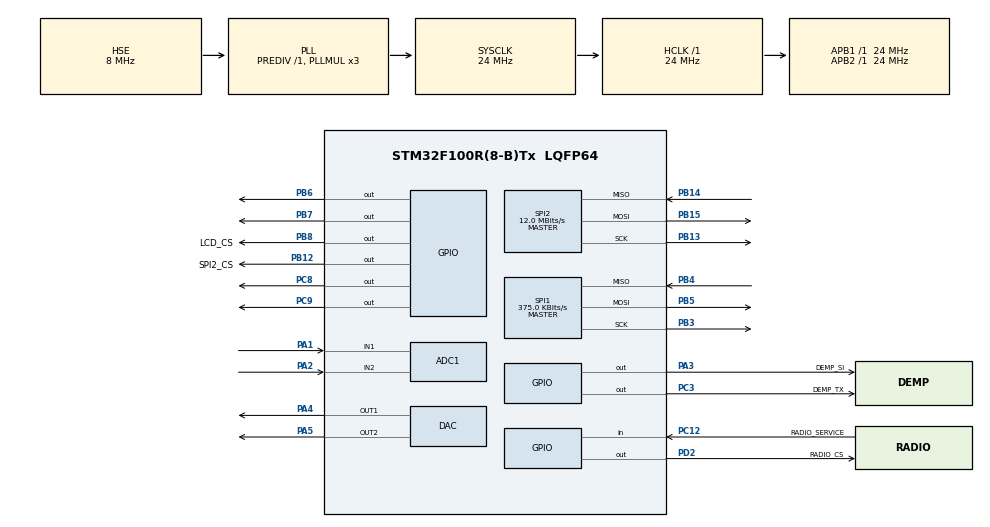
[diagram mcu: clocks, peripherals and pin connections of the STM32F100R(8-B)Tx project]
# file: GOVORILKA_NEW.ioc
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ADC1.Channel-9\#ChannelRegularConversion=ADC_CHANNEL_2
ADC1.ContinuousConvMode=DISABLE
ADC1.DataAlign=ADC_DATAALIGN_RIGHT
ADC1.DiscontinuousConvMode=DISABLE
ADC1.EnableAnalogWatchDog=false
ADC1.EnableRegularConversion=ENABLE
ADC1.ExternalTrigConv=ADC_SOFTWARE_START
ADC1.InjNumberOfConversion=0
ADC1.NbrOfConversion=1
ADC1.NbrOfConversionFlag=1
ADC1.Rank-9\#ChannelRegularConversion=1
ADC1.SamplingTime-9\#ChannelRegularConversion=ADC_SAMPLETIME_1CYCLE_5
ADC1.ScanConvMode=ADC_SCAN_DISABLE
ADC1.master=1
DAC.DAC_OutputBuffer=DAC_OUTPUTBUFFER_DISABLE
DAC.DAC_OutputBuffer2=DAC_OUTPUTBUFFER_DISABLE
DAC.DAC_Trigger=DAC_TRIGGER_T6_TRGO
DAC.DAC_Trigger2=DAC_TRIGGER_T6_TRGO
Dma.DAC_CH1.0.Direction=DMA_MEMORY_TO_PERIPH
Dma.DAC_CH1.0.Instance=DMA1_Channel3
Dma.DAC_CH1.0.MemDataAlignment=DMA_MDATAALIGN_BYTE
Dma.DAC_CH1.0.MemInc=DMA_MINC_ENABLE
Dma.DAC_CH1.0.Mode=DMA_CIRCULAR
Dma.DAC_CH1.0.PeriphDataAlignment=DMA_PDATAALIGN_BYTE
Dma.DAC_CH1.0.PeriphInc=DMA_PINC_DISABLE
Dma.DAC_CH1.0.Priority=DMA_PRIORITY_HIGH
Dma.Request0=DAC_CH1
Mcu.Family=STM32F1
Mcu.Name=STM32F100R(8-B)Tx
Mcu.Package=LQFP64
NVIC.DMA1_Channel3_IRQn=true\:0\:0\:false\:false\:true
NVIC.PriorityGroup=NVIC_PRIORITYGROUP_4
NVIC.TIM6_DAC_IRQn=true\:0\:0\:false\:false\:true
PA0-WKUP.Signal=SYS_WKUP
PA1.Signal=ADCx_IN1
PA13.Mode=Serial_Wire
PA13.Signal=SYS_JTMS-SWDIO
PA14.Mode=Serial_Wire
PA14.Signal=SYS_JTCK-SWCLK
PA2.Signal=ADCx_IN2
PA3.GPIO_Label=DEMP_SI
PA3.GPIO_Speed=GPIO_SPEED_FREQ_HIGH
PA3.Signal=GPIO_Output
PA4.Signal=COMP_DAC1_group
PA5.Signal=COMP_DAC2_group
PB12.GPIO_Label=SPI2_CS
PB12.Signal=GPIO_Output
PB13.Mode=Full_Duplex_Master
PB13.Signal=SPI2_SCK
PB14.Mode=Full_Duplex_Master
PB14.Signal=SPI2_MISO
PB15.Mode=Full_Duplex_Master
PB15.Signal=SPI2_MOSI
PB3.Mode=Full_Duplex_Master
PB3.Signal=SPI1_SCK
PB4.Mode=Full_Duplex_Master
PB4.Signal=SPI1_MISO
PB5.Mode=Full_Duplex_Master
PB5.Signal=SPI1_MOSI
PB6.GPIO_ModeDefaultOutputPP=GPIO_MODE_OUTPUT_PP
PB6.GPIO_Speed=GPIO_SPEED_FREQ_LOW
PB6.PinState=GPIO_PIN_RESET
PB6.Signal=GPIO_Output
PB7.GPIO_ModeDefaultOutputPP=GPIO_MODE_OUTPUT_PP
PB7.GPIO_Speed=GPIO_SPEED_FREQ_LOW
PB7.PinState=GPIO_PIN_RESET
PB7.Signal=GPIO_Output
PB8.GPIO_Label=LCD_CS
PB8.Signal=GPIO_Output
PC12.GPIO_Label=RADIO_SERVICE
PC12.Signal=GPIO_Input
PC14-OSC32_IN.Signal=RCC_OSC32_IN
PC15-OSC32_OUT.Signal=RCC_OSC32_OUT
PC3.GPIO_Label=DEMP_TX
PC3.Signal=GPIO_Output
PC8.GPIO_ModeDefaultOutputPP=GPIO_MODE_OUTPUT_PP
PC8.GPIO_Speed=GPIO_SPEED_FREQ_LOW
PC8.PinState=GPIO_PIN_RESET
PC8.Signal=GPIO_Output
PC9.GPIO_ModeDefaultOutputPP=GPIO_MODE_OUTPUT_PP
PC9.GPIO_Speed=GPIO_SPEED_FREQ_LOW
PC9.PinState=GPIO_PIN_RESET
PC9.Signal=GPIO_Output
PD0-OSC_IN.Mode=HSE-External-Oscillator
PD0-OSC_IN.Signal=RCC_OSC_IN
PD1-OSC_OUT.Mode=HSE-External-Oscillator
PD1-OSC_OUT.Signal=RCC_OSC_OUT
PD2.GPIO_Label=RADIO_CS
PD2.Signal=GPIO_Output
ProjectManager.HeapSize=0x200
ProjectManager.StackSize=0x400
ProjectManager.TargetToolchain=EWARM
RCC.AHBFreq_Value=24000000
RCC.APB1Freq_Value=24000000
RCC.APB1TimFreq_Value=24000000
RCC.APB2Freq_Value=24000000
RCC.APB2TimFreq_Value=24000000
RCC.HCLKFreq_Value=24000000
RCC.PLLMUL=RCC_PLL_MUL3
RCC.PLLSource=RCC_PLLSOURCE_HSE
RCC.SYSCLKFreq_VALUE=24000000
RCC.SYSCLKSource=RCC_SYSCLKSOURCE_PLLCLK
SH.ADCx_IN1.0=ADC1_IN1,IN1
SH.ADCx_IN2.0=ADC1_IN2,IN2
SH.COMP_DAC1_group.0=DAC_OUT1,DAC_OUT1
SH.COMP_DAC2_group.0=DAC_OUT2,DAC_OUT2
SPI1.BaudRatePrescaler=SPI_BAUDRATEPRESCALER_64
SPI1.CalculateBaudRate=375.0 KBits/s
SPI1.Direction=SPI_DIRECTION_2LINES
SPI1.Mode=SPI_MODE_MASTER
SPI1.VirtualType=VM_MASTER
SPI2.BaudRatePrescaler=SPI_BAUDRATEPRESCALER_2
SPI2.CalculateBaudRate=12.0 MBits/s
SPI2.Direction=SPI_DIRECTION_2LINES
SPI2.Mode=SPI_MODE_MASTER
SPI2.VirtualType=VM_MASTER
TIM6.AutoReloadPreload=TIM_AUTORELOAD_PRELOAD_ENABLE
TIM6.Period=45
TIM6.Prescaler=23
TIM6.TIM_MasterOutputTrigger=TIM_TRGO_UPDATE
VP_TIM6_VS_ClockSourceINT.Mode=Enable_Timer
VP_TIM7_VS_ClockSourceINT.Mode=Enable_Timer
VP_TIM7_VS_OPM.Mode=OPM_bit
board=STM32VLDISCOVERY

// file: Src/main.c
/**
  ******************************************************************************
  * File Name          : main.c
  * Description        : Main program body
  ******************************************************************************
  ** This notice applies to any and all portions of this file
  * that are not between comment pairs USER CODE BEGIN and
  * USER CODE END. Other portions of this file, whether
  * inserted by the user or by software development tools
  * are owned by their respective copyright owners.
  *
  * COPYRIGHT(c) 2017 STMicroelectronics
  *
  * Redistribution and use in source and binary forms, with or without modification,
  * are permitted provided that the following conditions are met:
  *   1. Redistributions of source code must retain the above copyright notice,
  *      this list of conditions and the following disclaimer.
  *   2. Redistributions in binary form must reproduce the above copyright notice,
  *      this list of conditions and the following disclaimer in the documentation
  *      and/or other materials provided with the distribution.
  *   3. Neither the name of STMicroelectronics nor the names of its contributors
  *      may be used to endorse or promote products derived from this software
  *      without specific prior written permission.
  *
  * THIS SOFTWARE IS PROVIDED BY THE COPYRIGHT HOLDERS AND CONTRIBUTORS "AS IS"
  * AND ANY EXPRESS OR IMPLIED WARRANTIES, INCLUDING, BUT NOT LIMITED TO, THE
  * IMPLIED WARRANTIES OF MERCHANTABILITY AND FITNESS FOR A PARTICULAR PURPOSE ARE
  * DISCLAIMED. IN NO EVENT SHALL THE COPYRIGHT HOLDER OR CONTRIBUTORS BE LIABLE
  * FOR ANY DIRECT, INDIRECT, INCIDENTAL, SPECIAL, EXEMPLARY, OR CONSEQUENTIAL
  * DAMAGES (INCLUDING, BUT NOT LIMITED TO, PROCUREMENT OF SUBSTITUTE GOODS OR
  * SERVICES; LOSS OF USE, DATA, OR PROFITS; OR BUSINESS INTERRUPTION) HOWEVER
  * CAUSED AND ON ANY THEORY OF LIABILITY, WHETHER IN CONTRACT, STRICT LIABILITY,
  * OR TORT (INCLUDING NEGLIGENCE OR OTHERWISE) ARISING IN ANY WAY OUT OF THE USE
  * OF THIS SOFTWARE, EVEN IF ADVISED OF THE POSSIBILITY OF SUCH DAMAGE.
  *
  ******************************************************************************
  */
#include "main.h"
#include "stm32f1xx_hal.h"

/* USER CODE BEGIN Includes */
#include "App.h"
#include "func.h"
#include "ff.h"
#include "integer.h"
#include "diskio.h"
/* USER CODE END Includes */

ADC_HandleTypeDef hadc1;

DAC_HandleTypeDef hdac;
DMA_HandleTypeDef hdma_dac_ch1;

SPI_HandleTypeDef hspi1;
SPI_HandleTypeDef hspi2;

TIM_HandleTypeDef htim6;
TIM_HandleTypeDef htim7;

/* USER CODE BEGIN PV */
/* Private variables ---------------------------------------------------------*/

/* USER CODE END PV */

void SystemClock_Config(void);
static void MX_GPIO_Init(void);
static void MX_DMA_Init(void);
static void MX_DAC_Init(void);
static void MX_TIM6_Init(void);
static void MX_SPI2_Init(void);
static void MX_SPI1_Init(void);
static void MX_ADC1_Init(void);
static void MX_TIM7_Init(void);

/* USER CODE BEGIN PFP */
/* Private function prototypes -----------------------------------------------*/

/* USER CODE END PFP */

 int main(void)
{

  /* MCU Configuration----------------------------------------------------------*/

  /* Reset of all peripherals, Initializes the Flash interface and the Systick. */
  HAL_Init();

  /* Configure the system clock */
  SystemClock_Config();

  /* Initialize all configured peripherals */
  MX_GPIO_Init();
  MX_DMA_Init();
  MX_DAC_Init();
  MX_TIM6_Init();
  MX_SPI2_Init();
  MX_SPI1_Init();
  MX_ADC1_Init();
  MX_TIM7_Init();

  /* Infinite loop */
  while (1)
  {

  /* USER CODE BEGIN 3 */
   //Play_1_file();
   lcd7735_ini();// инициализация дисплея
   lcd7735_fillrect(0, 0, 127, 159, 0x0000); // заполним весь экран черным  цветом

   int a = 0;

   HAL_Delay(10);
 // lcd7735_putstr(95,0,"Инициализация",0x0F00,0x0000);
   result = f_mount(&FATFS_Obj, "0", 1);
   if (result != FR_OK)
   {
     //lcd7735_putstr(80,0,"Ошибка",0x0F00,0x0000);
     while(1) {}

   }

    while(1) { Play_1_file();}
    // инициализация радио модуля
   if(CC1101_init()) { while(1)
   {
     SetXY(0,80);
     //lcd7735_putstr(80,0,"Ошибка радиомодуля",0x0F00,0x0000);
   }

   }

   //lcd7735_putstr(80,0,"Успех",0x0F00,0x0000);

   a = ADC_GET();

   // while(1)
   // {

   //   Play_1_file();
   //}
  float b;
  float b2;
  while(1)
  {
    if(!FLAG_PLAY)
    {
      a = dempGetData();
      b = (float)( 3.3 * a) / 4095;
     // b2 = (float) ( 3.3 / 4095) * Max;
      SetXY(0,110);
      printf("Дэмп: %1.3f В  \n",b);

      SendResultViaRadio(b);

     // b = tempGetData();
     // b = (float)( 3.3 / 4095) * b;
     // SetXY(0,90);
     // printf("Темп.: %f С  \n",b);

    //  SetXY(0,70);
    //  printf("Время: %d млс  \n", HAL_GetTick());
     // SetXY(0,95);
     // printf("Дэмп макс.: %1.3f В  \n",b2 * 2);

      /*
      SetXY(0,80);
      b = (float)( 3.3 / 4095) * Res_1;
      printf("30 мкс.: %1.3f В  \n",b * 2);

      SetXY(0,65);
      b = (float)( 3.3 / 4095) * Res_2;
      printf("100 мкс.: %1.3f В  \n",b * 2);

      SetXY(0,50);
      b = (float)( 3.3 / 4095) * Res_3;
      printf("170 мкс.: %1.3f В  \n",b * 2);

      SetXY(0,35);
      b = (float)( 3.3 / 4095) * Res_4;
      printf("240 мкс.: %1.3f В  \n",b * 2);

      SetXY(0,20);
      b = (float)( 3.3 / 4095) * Res_5;
      printf("310 мкс.: %1.3f В  \n",b * 2);

      SetXY(0,5);
      b = (float)( 3.3 / 4095) * Res_6;
      printf("380 мкс.: %1.3f В  \n",b * 2);
      */
      //SetXY(0,52);
     // b = (float)( 3.3 / 4095) * Res_7;
      //printf("130 мкс.: %1.3f В  \n",b * 2);

      //SetXY(0,44);
     // b = (float)( 3.3 / 4095) * Res_8;
     // printf("155 мкс.: %1.3f В  \n",b * 2);

      HAL_Delay(500);
    }

    //if( b > 1)
    //{ FLAG_PLAY = 1;}

    if(FLAG_PLAY)
    {  Play_1_file(); }
    else { HAL_Delay(100); }

  }
  }
  /* USER CODE END 3 */

}

/** System Clock Configuration
*/
void SystemClock_Config(void)
{

  RCC_OscInitTypeDef RCC_OscInitStruct;
  RCC_ClkInitTypeDef RCC_ClkInitStruct;
  RCC_PeriphCLKInitTypeDef PeriphClkInit;

    /**Initializes the CPU, AHB and APB busses clocks
    */
  RCC_OscInitStruct.OscillatorType = RCC_OSCILLATORTYPE_HSE;
  RCC_OscInitStruct.HSEState = RCC_HSE_ON;
  RCC_OscInitStruct.HSEPredivValue = RCC_HSE_PREDIV_DIV1;
  RCC_OscInitStruct.PLL.PLLState = RCC_PLL_ON;
  RCC_OscInitStruct.PLL.PLLSource = RCC_PLLSOURCE_HSE;
  RCC_OscInitStruct.PLL.PLLMUL = RCC_PLL_MUL3;
  if (HAL_RCC_OscConfig(&RCC_OscInitStruct) != HAL_OK)
  {
    _Error_Handler(__FILE__, __LINE__);
  }

    /**Initializes the CPU, AHB and APB busses clocks
    */
  RCC_ClkInitStruct.ClockType = RCC_CLOCKTYPE_HCLK|RCC_CLOCKTYPE_SYSCLK
                              |RCC_CLOCKTYPE_PCLK1|RCC_CLOCKTYPE_PCLK2;
  RCC_ClkInitStruct.SYSCLKSource = RCC_SYSCLKSOURCE_PLLCLK;
  RCC_ClkInitStruct.AHBCLKDivider = RCC_SYSCLK_DIV1;
  RCC_ClkInitStruct.APB1CLKDivider = RCC_HCLK_DIV1;
  RCC_ClkInitStruct.APB2CLKDivider = RCC_HCLK_DIV1;

  if (HAL_RCC_ClockConfig(&RCC_ClkInitStruct, FLASH_LATENCY_0) != HAL_OK)
  {
    _Error_Handler(__FILE__, __LINE__);
  }

  PeriphClkInit.PeriphClockSelection = RCC_PERIPHCLK_ADC;
  PeriphClkInit.AdcClockSelection = RCC_ADCPCLK2_DIV2;
  if (HAL_RCCEx_PeriphCLKConfig(&PeriphClkInit) != HAL_OK)
  {
    _Error_Handler(__FILE__, __LINE__);
  }

    /**Configure the Systick interrupt time
    */
  HAL_SYSTICK_Config(HAL_RCC_GetHCLKFreq()/1000);

    /**Configure the Systick
    */
  HAL_SYSTICK_CLKSourceConfig(SYSTICK_CLKSOURCE_HCLK);

  /* SysTick_IRQn interrupt configuration */
  HAL_NVIC_SetPriority(SysTick_IRQn, 0, 0);
}

/* ADC1 init function */
static void MX_ADC1_Init(void)
{

  ADC_ChannelConfTypeDef sConfig;

    /**Common config
    */
  hadc1.Instance = ADC1;
  hadc1.Init.ScanConvMode = ADC_SCAN_DISABLE;
  hadc1.Init.ContinuousConvMode = DISABLE;
  hadc1.Init.DiscontinuousConvMode = DISABLE;
  hadc1.Init.ExternalTrigConv = ADC_SOFTWARE_START;
  hadc1.Init.DataAlign = ADC_DATAALIGN_RIGHT;
  hadc1.Init.NbrOfConversion = 1;
  if (HAL_ADC_Init(&hadc1) != HAL_OK)
  {
    _Error_Handler(__FILE__, __LINE__);
  }

    /**Configure Regular Channel
    */
  sConfig.Channel = ADC_CHANNEL_2;
  sConfig.Rank = 1;
  sConfig.SamplingTime = ADC_SAMPLETIME_1CYCLE_5;
  if (HAL_ADC_ConfigChannel(&hadc1, &sConfig) != HAL_OK)
  {
    _Error_Handler(__FILE__, __LINE__);
  }

}

/* DAC init function */
static void MX_DAC_Init(void)
{

  DAC_ChannelConfTypeDef sConfig;

    /**DAC Initialization
    */
  hdac.Instance = DAC;
  if (HAL_DAC_Init(&hdac) != HAL_OK)
  {
    _Error_Handler(__FILE__, __LINE__);
  }

    /**DAC channel OUT1 config
    */
  sConfig.DAC_Trigger = DAC_TRIGGER_T6_TRGO;
  sConfig.DAC_OutputBuffer = DAC_OUTPUTBUFFER_DISABLE;
  if (HAL_DAC_ConfigChannel(&hdac, &sConfig, DAC_CHANNEL_1) != HAL_OK)
  {
    _Error_Handler(__FILE__, __LINE__);
  }

    /**DAC channel OUT2 config
    */
  if (HAL_DAC_ConfigChannel(&hdac, &sConfig, DAC_CHANNEL_2) != HAL_OK)
  {
    _Error_Handler(__FILE__, __LINE__);
  }

}

/* SPI1 init function */
static void MX_SPI1_Init(void)
{

  hspi1.Instance = SPI1;
  hspi1.Init.Mode = SPI_MODE_MASTER;
  hspi1.Init.Direction = SPI_DIRECTION_2LINES;
  hspi1.Init.DataSize = SPI_DATASIZE_8BIT;
  hspi1.Init.CLKPolarity = SPI_POLARITY_LOW;
  hspi1.Init.CLKPhase = SPI_PHASE_1EDGE;
  hspi1.Init.NSS = SPI_NSS_SOFT;
  hspi1.Init.BaudRatePrescaler = SPI_BAUDRATEPRESCALER_64;
  hspi1.Init.FirstBit = SPI_FIRSTBIT_MSB;
  hspi1.Init.TIMode = SPI_TIMODE_DISABLE;
  hspi1.Init.CRCCalculation = SPI_CRCCALCULATION_DISABLE;
  hspi1.Init.CRCPolynomial = 10;
  if (HAL_SPI_Init(&hspi1) != HAL_OK)
  {
    _Error_Handler(__FILE__, __LINE__);
  }

}

/* SPI2 init function */
static void MX_SPI2_Init(void)
{

  hspi2.Instance = SPI2;
  hspi2.Init.Mode = SPI_MODE_MASTER;
  hspi2.Init.Direction = SPI_DIRECTION_2LINES;
  hspi2.Init.DataSize = SPI_DATASIZE_8BIT;
  hspi2.Init.CLKPolarity = SPI_POLARITY_LOW;
  hspi2.Init.CLKPhase = SPI_PHASE_1EDGE;
  hspi2.Init.NSS = SPI_NSS_SOFT;
  hspi2.Init.BaudRatePrescaler = SPI_BAUDRATEPRESCALER_2;
  hspi2.Init.FirstBit = SPI_FIRSTBIT_MSB;
  hspi2.Init.TIMode = SPI_TIMODE_DISABLE;
  hspi2.Init.CRCCalculation = SPI_CRCCALCULATION_DISABLE;
  hspi2.Init.CRCPolynomial = 10;
  if (HAL_SPI_Init(&hspi2) != HAL_OK)
  {
    _Error_Handler(__FILE__, __LINE__);
  }

}

/* TIM6 init function */
static void MX_TIM6_Init(void)
{

  TIM_MasterConfigTypeDef sMasterConfig;

  htim6.Instance = TIM6;
  htim6.Init.Prescaler = 23;
  htim6.Init.CounterMode = TIM_COUNTERMODE_UP;
  htim6.Init.Period = 45;
  htim6.Init.AutoReloadPreload = TIM_AUTORELOAD_PRELOAD_ENABLE;
  if (HAL_TIM_Base_Init(&htim6) != HAL_OK)
  {
    _Error_Handler(__FILE__, __LINE__);
  }

  sMasterConfig.MasterOutputTrigger = TIM_TRGO_UPDATE;
  sMasterConfig.MasterSlaveMode = TIM_MASTERSLAVEMODE_DISABLE;
  if (HAL_TIMEx_MasterConfigSynchronization(&htim6, &sMasterConfig) != HAL_OK)
  {
    _Error_Handler(__FILE__, __LINE__);
  }

}

/* TIM7 init function */
static void MX_TIM7_Init(void)
{

  TIM_MasterConfigTypeDef sMasterConfig;

  htim7.Instance = TIM7;
  htim7.Init.Prescaler = 0;
  htim7.Init.CounterMode = TIM_COUNTERMODE_UP;
  htim7.Init.Period = 0;
  htim7.Init.AutoReloadPreload = TIM_AUTORELOAD_PRELOAD_DISABLE;
  if (HAL_TIM_Base_Init(&htim7) != HAL_OK)
  {
    _Error_Handler(__FILE__, __LINE__);
  }

  if (HAL_TIM_OnePulse_Init(&htim7, TIM_OPMODE_SINGLE) != HAL_OK)
  {
    _Error_Handler(__FILE__, __LINE__);
  }

  sMasterConfig.MasterOutputTrigger = TIM_TRGO_RESET;
  sMasterConfig.MasterSlaveMode = TIM_MASTERSLAVEMODE_DISABLE;
  if (HAL_TIMEx_MasterConfigSynchronization(&htim7, &sMasterConfig) != HAL_OK)
  {
    _Error_Handler(__FILE__, __LINE__);
  }

}

static void MX_DMA_Init(void)
{
  /* DMA controller clock enable */
  __HAL_RCC_DMA1_CLK_ENABLE();

  /* DMA interrupt init */
  /* DMA1_Channel3_IRQn interrupt configuration */
  HAL_NVIC_SetPriority(DMA1_Channel3_IRQn, 0, 0);
  HAL_NVIC_EnableIRQ(DMA1_Channel3_IRQn);

}

/** Configure pins as
        * Analog
        * Input
        * Output
        * EVENT_OUT
        * EXTI
*/
static void MX_GPIO_Init(void)
{

  GPIO_InitTypeDef GPIO_InitStruct;

  /* GPIO Ports Clock Enable */
  __HAL_RCC_GPIOC_CLK_ENABLE();
  __HAL_RCC_GPIOD_CLK_ENABLE();
  __HAL_RCC_GPIOA_CLK_ENABLE();
  __HAL_RCC_GPIOB_CLK_ENABLE();

  /*Configure GPIO pin Output Level */
  HAL_GPIO_WritePin(GPIOC, DEMP_TX_Pin|GPIO_PIN_8|GPIO_PIN_9, GPIO_PIN_RESET);

  /*Configure GPIO pin Output Level */
  HAL_GPIO_WritePin(DEMP_SI_GPIO_Port, DEMP_SI_Pin, GPIO_PIN_RESET);

  /*Configure GPIO pin Output Level */
  HAL_GPIO_WritePin(GPIOB, SPI2_CS_Pin|GPIO_PIN_6|GPIO_PIN_7|LCD_CS_Pin, GPIO_PIN_RESET);

  /*Configure GPIO pin Output Level */
  HAL_GPIO_WritePin(RADIO_CS_GPIO_Port, RADIO_CS_Pin, GPIO_PIN_RESET);

  /*Configure GPIO pins : DEMP_TX_Pin PC8 PC9 */
  GPIO_InitStruct.Pin = DEMP_TX_Pin|GPIO_PIN_8|GPIO_PIN_9;
  GPIO_InitStruct.Mode = GPIO_MODE_OUTPUT_PP;
  GPIO_InitStruct.Speed = GPIO_SPEED_FREQ_LOW;
  HAL_GPIO_Init(GPIOC, &GPIO_InitStruct);

  /*Configure GPIO pin : DEMP_SI_Pin */
  GPIO_InitStruct.Pin = DEMP_SI_Pin;
  GPIO_InitStruct.Mode = GPIO_MODE_OUTPUT_PP;
  GPIO_InitStruct.Speed = GPIO_SPEED_FREQ_HIGH;
  HAL_GPIO_Init(DEMP_SI_GPIO_Port, &GPIO_InitStruct);

  /*Configure GPIO pins : SPI2_CS_Pin PB6 PB7 LCD_CS_Pin */
  GPIO_InitStruct.Pin = SPI2_CS_Pin|GPIO_PIN_6|GPIO_PIN_7|LCD_CS_Pin;
  GPIO_InitStruct.Mode = GPIO_MODE_OUTPUT_PP;
  GPIO_InitStruct.Speed = GPIO_SPEED_FREQ_LOW;
  HAL_GPIO_Init(GPIOB, &GPIO_InitStruct);

  /*Configure GPIO pin : RADIO_SERVICE_Pin */
  GPIO_InitStruct.Pin = RADIO_SERVICE_Pin;
  GPIO_InitStruct.Mode = GPIO_MODE_INPUT;
  GPIO_InitStruct.Pull = GPIO_NOPULL;
  HAL_GPIO_Init(RADIO_SERVICE_GPIO_Port, &GPIO_InitStruct);

  /*Configure GPIO pin : RADIO_CS_Pin */
  GPIO_InitStruct.Pin = RADIO_CS_Pin;
  GPIO_InitStruct.Mode = GPIO_MODE_OUTPUT_PP;
  GPIO_InitStruct.Speed = GPIO_SPEED_FREQ_LOW;
  HAL_GPIO_Init(RADIO_CS_GPIO_Port, &GPIO_InitStruct);

}

void _Error_Handler(char * file, int line)
{
  while(1)
  {
  }
}

/************************ (C) COPYRIGHT STMicroelectronics *****END OF FILE****/
